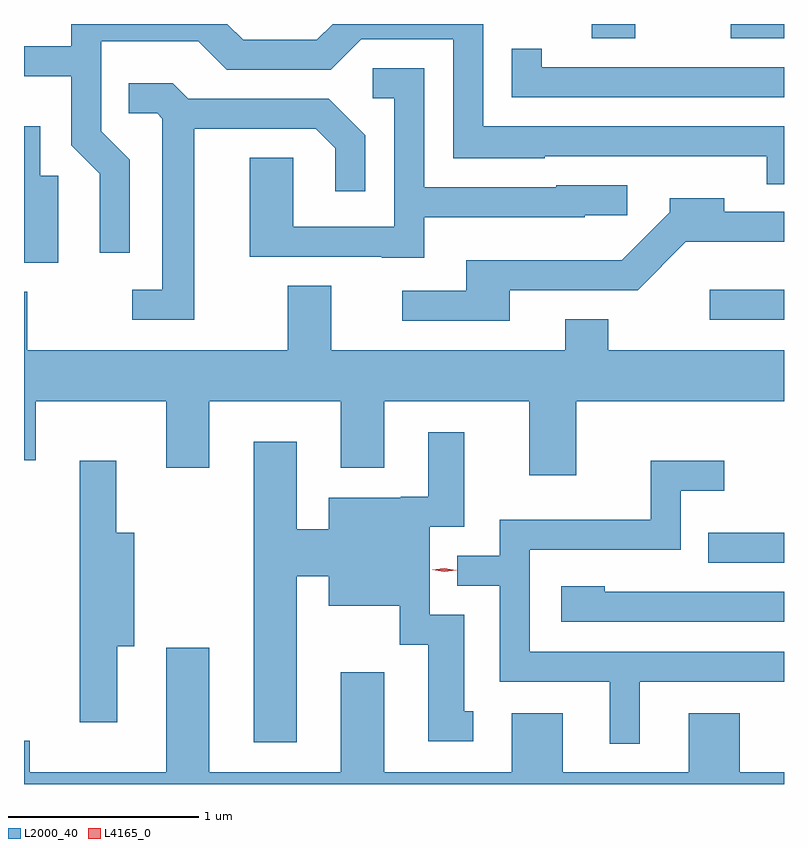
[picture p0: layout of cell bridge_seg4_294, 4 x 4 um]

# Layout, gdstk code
import gdstk
lib = gdstk.Library(unit=1e-6, precision=1e-09)
def R(c, l, rs):  # rectangles x0, y0, x1, y1
    for r in rs: c.add(gdstk.rectangle(r[:2], r[2:], *l))
def P(c, l, *ps):  # polygons
    for p in ps: c.add(gdstk.Polygon(p, *l))
L2000_40 = (2000, 40)
L4165_0 = (4165, 0)

bridge_seg4_294 = lib.new_cell('bridge_seg4_294')
R(bridge_seg4_294, L2000_40, [(506.403,1267.246,506.803,1267.404), (506.413,1268.526,506.803,1268.684), (505.791,1270.006,506.019,1270.082), (506.523,1270.006,506.803,1270.082)])
P(bridge_seg4_294, L2000_40, [(503.359,1269.367),(503.209,1269.517),(503.209,1269.991),(503.719,1269.991),(503.869,1269.841),(504.417,1269.841),(504.577,1270.001),(505.061,1270.001),(505.061,1269.376),(505.545,1269.376),(505.545,1269.386),(506.711,1269.386),(506.711,1269.238),(506.803,1269.238),(506.803,1269.544),(505.219,1269.544),(505.219,1270.082),(504.427,1270.082),(504.344,1269.999),(503.957,1269.999),(503.874,1270.082),(503.051,1270.082),(503.051,1269.964),(502.803,1269.964),(502.803,1269.806),(503.051,1269.806),(503.051,1269.444),(503.201,1269.294),(503.201,1268.878),(503.359,1268.878)],
  [(506.803,1269.854),(505.529,1269.854),(505.529,1269.953),(505.371,1269.953),(505.371,1269.696),(506.803,1269.696)],
  [(504.909,1269.066),(505.755,1269.066),(505.755,1269.076),(505.978,1269.076),(505.978,1269.234),(505.605,1269.234),(505.605,1269.224),(504.909,1269.224),(504.909,1269.849),(504.638,1269.849),(504.638,1269.691),(504.751,1269.691),(504.751,1269.014),(504.219,1269.014),(504.219,1269.379),(503.991,1269.379),(503.991,1268.856),(504.685,1268.856),(504.685,1268.851),(504.909,1268.851)],
  [(503.699,1269.531),(504.339,1269.531),(504.441,1269.429),(504.441,1269.203),(504.599,1269.203),(504.599,1269.497),(504.407,1269.689),(503.667,1269.689),(503.587,1269.769),(503.353,1269.769),(503.353,1269.611),(503.504,1269.611),(503.531,1269.584),(503.531,1268.684),(503.373,1268.684),(503.373,1268.526),(503.699,1268.526)],
  [(502.984,1269.284),(502.889,1269.284),(502.889,1269.543),(502.803,1269.543),(502.803,1268.826),(502.984,1268.826)],
  [(505.359,1268.681),(506.032,1268.681),(506.287,1268.936),(506.803,1268.936),(506.803,1269.094),(506.489,1269.094),(506.489,1269.164),(506.201,1269.164),(506.201,1269.092),(505.949,1268.839),(505.131,1268.839),(505.131,1268.679),(504.793,1268.679),(504.793,1268.521),(505.359,1268.521)],
  [(505.709,1268.096),(506.803,1268.096),(506.803,1268.364),(505.879,1268.364),(505.879,1268.529),(505.651,1268.529),(505.651,1268.364),(504.419,1268.364),(504.419,1268.704),(504.191,1268.704),(504.191,1268.364),(502.819,1268.364),(502.819,1268.674),(502.803,1268.674),(502.803,1267.786),(502.864,1267.786),(502.864,1268.096),(503.551,1268.096),(503.551,1267.746),(503.779,1267.746),(503.779,1268.096),(504.471,1268.096),(504.471,1267.746),(504.699,1267.746),(504.699,1268.096),(505.461,1268.096),(505.461,1267.706),(505.709,1267.706)],
  [(504.239,1267.176),(504.406,1267.176),(504.406,1267.021),(504.781,1267.021),(504.781,1266.816),(504.931,1266.816),(504.931,1266.306),(505.168,1266.306),(505.168,1266.464),(505.119,1266.464),(505.119,1266.974),(504.939,1266.974),(504.939,1267.436),(505.119,1267.436),(505.119,1267.934),(504.931,1267.934),(504.931,1267.594),(504.785,1267.594),(504.785,1267.589),(504.406,1267.589),(504.406,1267.424),(504.239,1267.424),(504.239,1267.884),(504.011,1267.884),(504.011,1266.301),(504.239,1266.301)],
  [(503.294,1266.806),(503.384,1266.806),(503.384,1267.404),(503.289,1267.404),(503.289,1267.784),(503.096,1267.784),(503.096,1266.406),(503.294,1266.406)],
  [(506.044,1266.621),(506.803,1266.621),(506.803,1266.779),(505.464,1266.779),(505.464,1267.316),(506.259,1267.316),(506.259,1267.626),(506.488,1267.626),(506.488,1267.784),(506.101,1267.784),(506.101,1267.474),(505.306,1267.474),(505.306,1267.284),(505.083,1267.284),(505.083,1267.126),(505.306,1267.126),(505.306,1266.621),(505.886,1266.621),(505.886,1266.293),(506.044,1266.293)],
  [(506.803,1267.094),(505.859,1267.094),(505.859,1267.124),(505.631,1267.124),(505.631,1266.936),(506.803,1266.936)],
  [(506.803,1266.144),(506.569,1266.144),(506.569,1266.454),(506.301,1266.454),(506.301,1266.144),(505.639,1266.144),(505.639,1266.454),(505.371,1266.454),(505.371,1266.144),(504.699,1266.144),(504.699,1266.669),(504.471,1266.669),(504.471,1266.144),(503.779,1266.144),(503.779,1266.799),(503.551,1266.799),(503.551,1266.144),(502.834,1266.144),(502.834,1266.309),(502.803,1266.309),(502.803,1266.082),(506.803,1266.082)])
P(bridge_seg4_294, L4165_0, [(505.014,1267.198),(504.951,1267.209),(504.951,1267.209),(504.951,1267.21),(505.015,1267.218),(505.077,1267.207),(505.078,1267.207),(505.077,1267.206)])

lib.write_gds('bridge_seg4_294.gds')
